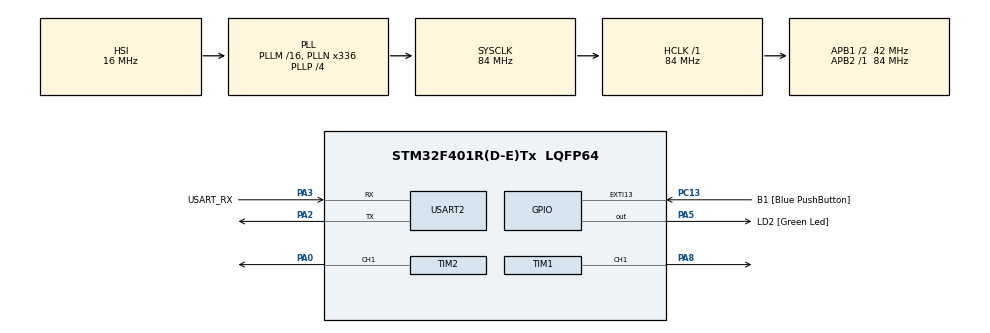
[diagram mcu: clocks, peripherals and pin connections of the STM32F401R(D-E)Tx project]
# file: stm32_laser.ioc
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Dma.Request0=USART2_RX
Dma.USART2_RX.0.Direction=DMA_PERIPH_TO_MEMORY
Dma.USART2_RX.0.FIFOMode=DMA_FIFOMODE_DISABLE
Dma.USART2_RX.0.Instance=DMA1_Stream5
Dma.USART2_RX.0.MemDataAlignment=DMA_MDATAALIGN_HALFWORD
Dma.USART2_RX.0.MemInc=DMA_MINC_ENABLE
Dma.USART2_RX.0.Mode=DMA_CIRCULAR
Dma.USART2_RX.0.PeriphDataAlignment=DMA_PDATAALIGN_HALFWORD
Dma.USART2_RX.0.PeriphInc=DMA_PINC_DISABLE
Dma.USART2_RX.0.Priority=DMA_PRIORITY_HIGH
Mcu.Family=STM32F4
Mcu.Name=STM32F401R(D-E)Tx
Mcu.Package=LQFP64
NVIC.DMA1_Stream5_IRQn=true\:0\:0\:false\:false\:true\:false\:true\:true
NVIC.PriorityGroup=NVIC_PRIORITYGROUP_0
NVIC.USART2_IRQn=true\:0\:0\:false\:false\:true\:true\:true\:true
PA0-WKUP.Signal=S_TIM2_CH1_ETR
PA13.GPIO_Label=TMS
PA13.Signal=SYS_JTMS-SWDIO
PA14.GPIO_Label=TCK
PA14.Signal=SYS_JTCK-SWCLK
PA2.Mode=Asynchronous
PA2.Signal=USART2_TX
PA3.GPIO_Label=USART_RX
PA3.GPIO_Mode=GPIO_MODE_AF_PP
PA3.GPIO_PuPd=GPIO_NOPULL
PA3.GPIO_Speed=GPIO_SPEED_FREQ_LOW
PA3.Mode=Asynchronous
PA3.Signal=USART2_RX
PA5.GPIO_Label=LD2 [Green Led]
PA5.GPIO_Mode=GPIO_MODE_OUTPUT_PP
PA5.GPIO_PuPd=GPIO_NOPULL
PA5.GPIO_Speed=GPIO_SPEED_FREQ_LOW
PA5.Signal=GPIO_Output
PA8.Signal=S_TIM1_CH1
PB3.GPIO_Label=SWO
PB3.Signal=SYS_JTDO-SWO
PC13-ANTI_TAMP.GPIO_Label=B1 [Blue PushButton]
PC13-ANTI_TAMP.GPIO_ModeDefaultEXTI=GPIO_MODE_IT_FALLING
PC13-ANTI_TAMP.GPIO_PuPd=GPIO_NOPULL
PC13-ANTI_TAMP.Signal=GPXTI13
PC14-OSC32_IN.Signal=RCC_OSC32_IN
PC15-OSC32_OUT.Signal=RCC_OSC32_OUT
PH0\ -\ OSC_IN.Signal=RCC_OSC_IN
PH1\ -\ OSC_OUT.Signal=RCC_OSC_OUT
ProjectManager.HeapSize=0x200
ProjectManager.StackSize=0x400
ProjectManager.TargetToolchain=CMake
RCC.AHBFreq_Value=84000000
RCC.APB1CLKDivider=RCC_HCLK_DIV2
RCC.APB1Freq_Value=42000000
RCC.APB1TimFreq_Value=84000000
RCC.APB2Freq_Value=84000000
RCC.APB2TimFreq_Value=84000000
RCC.CortexFreq_Value=84000000
RCC.HCLKFreq_Value=84000000
RCC.HSE_VALUE=8000000
RCC.HSI_VALUE=16000000
RCC.LSE_VALUE=32768
RCC.PLLN=336
RCC.PLLP=RCC_PLLP_DIV4
RCC.PLLQ=7
RCC.SYSCLKFreq_VALUE=84000000
RCC.SYSCLKSource=RCC_SYSCLKSOURCE_PLLCLK
RCC.VCOOutputFreq_Value=336000000
SH.S_TIM1_CH1.0=TIM1_CH1,PWM Generation1 CH1
SH.S_TIM2_CH1_ETR.0=TIM2_CH1,PWM Generation1 CH1
TIM1.Channel-PWM\ Generation1\ CH1=TIM_CHANNEL_1
TIM1.OCPolarity_1=TIM_OCPOLARITY_LOW
TIM1.Period=19999
TIM1.Prescaler=83
TIM2.Channel-PWM\ Generation1\ CH1=TIM_CHANNEL_1
TIM2.OCPolarity_1=TIM_OCPOLARITY_LOW
TIM2.Prescaler=83
USART2.VirtualMode=VM_ASYNC
VP_TIM1_VS_ClockSourceINT.Mode=Internal
VP_TIM2_VS_ClockSourceINT.Mode=Internal
board=NUCLEO-F401RE

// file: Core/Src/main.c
/* USER CODE BEGIN Header */
/**
  ******************************************************************************
  * @file           : main.c
  * @brief          : Main program body
  ******************************************************************************
  * @attention
  *
  * Copyright (c) 2026 STMicroelectronics.
  * All rights reserved.
  *
  * This software is licensed under terms that can be found in the LICENSE file
  * in the root directory of this software component.
  * If no LICENSE file comes with this software, it is provided AS-IS.
  *
  ******************************************************************************
  */
/* USER CODE END Header */
#include "main.h"

/* USER CODE BEGIN Includes */
#include <stdlib.h>
#include <string.h>
#include <stdio.h>
/* USER CODE END Includes */

/* USER CODE BEGIN PD */
/* PWM 주파수 (Hz): 50=서보 표준 20ms, 100/250 등 테스트 가능 */
#define PWM_FREQ_HZ   50
#define PWM_US_MIN    800
#define PWM_US_MAX    2200
#define RX_LINE_MAX   64

/* 제어 모드 */
#define MODE_MANUAL   0  /* UART로 들어온 us 값 그대로 사용 */
#define MODE_AUTO     1  /* 1200~1800 us 자동 스윕 */

/* 1200~1800 us 자동 회전(스윕) */
#define AUTO_PWM_MIN  1200
#define AUTO_PWM_MAX  1800
#define AUTO_STEP_US  10
#define AUTO_MS       30
#define AUTO_HOLD_MS  2000   /* UART 입력 후 이 시간(ms) 동안 고정, 이후 스윕 재개 (AUTO 모드에서만 사용) */
/* USER CODE END PD */

TIM_HandleTypeDef htim1;
TIM_HandleTypeDef htim2;

UART_HandleTypeDef huart2;
DMA_HandleTypeDef hdma_usart2_rx;

/* USER CODE BEGIN PV */
static uint8_t   rx_byte;
static char      rx_line_buf[RX_LINE_MAX];
static uint8_t   rx_idx;
static volatile uint8_t rx_ready;

/* UART 디버그: 콜백이 불리는지 확인용 에코 플래그 */
static volatile uint8_t debug_rx_flag = 0;
static uint8_t          debug_rx_byte = 0;

/* B1 버튼으로 AUTO 모드 진입 요청 플래그 */
static volatile uint8_t button_auto_pending = 0;

/* 제어 모드: 기본은 수동(MANUAL) */
static uint8_t   control_mode = MODE_MANUAL;

/* 자동 스윕: 1200~1800 us 왕복 (AUTO 모드에서만 사용) */
static uint32_t  auto_pwm_val   = 1500;
static int32_t   auto_dir       = AUTO_STEP_US;
static uint32_t  auto_last_tick = 0;
static uint32_t  last_uart_tick = 0;  /* UART로 값 보낸 시각; 이 후 AUTO_HOLD_MS 동안 스윕 정지 */
/* USER CODE END PV */

void SystemClock_Config(void);
static void MX_GPIO_Init(void);
static void MX_DMA_Init(void);
static void MX_TIM1_Init(void);
static void MX_TIM2_Init(void);
static void MX_USART2_UART_Init(void);

int main(void)
{

  /* MCU Configuration--------------------------------------------------------*/

  /* Reset of all peripherals, Initializes the Flash interface and the Systick. */
  HAL_Init();

  /* Configure the system clock */
  SystemClock_Config();

  /* Initialize all configured peripherals */
  MX_GPIO_Init();
  MX_DMA_Init();
  MX_TIM1_Init();
  MX_TIM2_Init();
  MX_USART2_UART_Init();
  /* USER CODE BEGIN 2 */
  rx_idx = 0;
  rx_ready = 0;
  /* PWM 주기: PWM_FREQ_HZ에 따라 ARR 설정 (1 tick = 1 us) */
  {
    uint32_t pwm_period = (1000000u / (uint32_t)PWM_FREQ_HZ) - 1u;
    __HAL_TIM_SET_AUTORELOAD(&htim1, pwm_period);
    __HAL_TIM_SET_AUTORELOAD(&htim2, pwm_period);
  }
  __HAL_TIM_SET_COMPARE(&htim1, TIM_CHANNEL_1, 1500);
  __HAL_TIM_SET_COMPARE(&htim2, TIM_CHANNEL_1, 1500);
  HAL_TIM_PWM_Start(&htim1, TIM_CHANNEL_1);
  HAL_TIM_PWM_Start(&htim2, TIM_CHANNEL_1);
  __HAL_TIM_MOE_ENABLE(&htim1);  /* TIM1(PA8) 실제 출력 위해 필수 */
  HAL_UART_Receive_IT(&huart2, &rx_byte, 1);
  auto_last_tick = HAL_GetTick();
  {
    char msg[96];
    int n = snprintf(msg, sizeof(msg),
                     "%dHz PWM. MODE 0=manual, 1=auto.\r\n"
                     "Send: 1500 or 1500 1200 or \"mode 0/1\".\r\n",
                     (int)PWM_FREQ_HZ);
    if (n > 0) HAL_UART_Transmit(&huart2, (uint8_t *)msg, (uint16_t)n, 100);
  }
  /* USER CODE END 2 */

  /* Infinite loop */
  /* USER CODE BEGIN WHILE */
  while (1)
  {
    /* B1 버튼으로 모드 토글 (MANUAL ↔ AUTO) */
    if (button_auto_pending)
    {
      button_auto_pending = 0;
      if (control_mode == MODE_AUTO)
      {
        /* AUTO → MANUAL로 전환: 현재 각도 유지, 스윕 중단 */
        control_mode = MODE_MANUAL;
        const char *msg = "manual mode 실행\r\n";
        HAL_UART_Transmit(&huart2, (const uint8_t *)msg, (uint16_t)strlen(msg), 50);
      }
      else
      {
        /* MANUAL → AUTO로 전환: 1200~1800 스윕 시작 */
        control_mode   = MODE_AUTO;
        auto_pwm_val   = AUTO_PWM_MIN;
        auto_dir       = AUTO_STEP_US;
        auto_last_tick = HAL_GetTick();
        last_uart_tick = 0;
        const char *msg = "auto mode 실행\r\n";
        HAL_UART_Transmit(&huart2, (const uint8_t *)msg, (uint16_t)strlen(msg), 50);
      }
    }

    /* 디버그: 수신된 마지막 바이트를 에코 (콜백이 실제로 불리는지 확인) */
    if (debug_rx_flag)
    {
      debug_rx_flag = 0;
      HAL_UART_Transmit(&huart2, &debug_rx_byte, 1, 20);
    }

    if (rx_ready)
    {
      rx_ready = 0;
      rx_line_buf[rx_idx] = '\0';

      /* 공백/개행만 들어온 경우 무시 */
      if (rx_idx == 0 || rx_line_buf[0] == '\r' || rx_line_buf[0] == '\n')
      {
        rx_idx = 0;
        HAL_UART_Receive_IT(&huart2, &rx_byte, 1);
        continue;
      }

      /* MODE 명령 처리: "mode 0" 또는 "mode 1" */
      if (strncmp(rx_line_buf, "mode", 4) == 0)
      {
        unsigned long m = 0;
        if (sscanf(rx_line_buf + 4, "%lu", &m) == 1 && (m == 0ul || m == 1ul))
        {
          control_mode = (uint8_t)m;
          const char *resp = (control_mode == MODE_MANUAL)
                             ? "MODE=0 (manual)\r\n"
                             : "MODE=1 (auto sweep 1200~1800us)\r\n";
          HAL_UART_Transmit(&huart2, (const uint8_t *)resp, (uint16_t)strlen(resp), 50);
        }
        else
        {
          const char *err = "Usage: mode 0 (manual) or mode 1 (auto)\r\n";
          HAL_UART_Transmit(&huart2, (const uint8_t *)err, (uint16_t)strlen(err), 50);
        }
      }
      else
      {
        /* 기본: "1500" 또는 "1500 1200" 형식으로 us 값 설정 */
        unsigned long u1 = 1500, u2 = 1500;
        int n = sscanf(rx_line_buf, "%lu %lu", &u1, &u2);
        if (n >= 1)
        {
          if (u1 < PWM_US_MIN) u1 = PWM_US_MIN;
          if (u1 > PWM_US_MAX) u1 = PWM_US_MAX;
          if (n >= 2)
          {
            if (u2 < PWM_US_MIN) u2 = PWM_US_MIN;
            if (u2 > PWM_US_MAX) u2 = PWM_US_MAX;
          }
          else
          {
            u2 = u1;
          }
          /* CH1=PA8(TIM1), CH2=PA0(TIM2) */
          __HAL_TIM_SET_COMPARE(&htim1, TIM_CHANNEL_1, (uint32_t)u1);
          __HAL_TIM_SET_COMPARE(&htim2, TIM_CHANNEL_1, (uint32_t)u2);
          auto_pwm_val = (uint32_t)u1;
          last_uart_tick = HAL_GetTick();
          char ack[52];
          int len = snprintf(ack, sizeof(ack), "\nOK PA8=%lu PA0=%lu us\r\n", u1, u2);
          if (len > 0)
            HAL_UART_Transmit(&huart2, (uint8_t *)ack, (uint16_t)len, 50);
        }
        else
        {
          const char *err = "? (send: 1500 or 1500 1200, or mode 0/1)\r\n";
          HAL_UART_Transmit(&huart2, (const uint8_t *)err, (uint16_t)strlen(err), 50);
        }
      }
      rx_idx = 0;
      HAL_UART_Receive_IT(&huart2, &rx_byte, 1);
    }

    /* 자동 스윕: MODE_AUTO에서만 동작, 기본은 비활성화(MODE_MANUAL) */
    if (control_mode == MODE_AUTO)
    {
      uint32_t now = HAL_GetTick();
      if (last_uart_tick != 0 && (now - last_uart_tick) < AUTO_HOLD_MS)
      {
        /* UART로 넣은 값 유지, 스윕 안 함 */
      }
      else if (now - auto_last_tick >= AUTO_MS)
      {
        if (last_uart_tick != 0 && (now - last_uart_tick) >= AUTO_HOLD_MS)
          last_uart_tick = 0;  /* 2초 지남 → 스윕 재개 */
        auto_last_tick = now;
        auto_pwm_val += (uint32_t)auto_dir;
        if (auto_pwm_val >= AUTO_PWM_MAX)
        {
          auto_pwm_val = AUTO_PWM_MAX;
          auto_dir = -(int32_t)AUTO_STEP_US;
        }
        else if (auto_pwm_val <= AUTO_PWM_MIN)
        {
          auto_pwm_val = AUTO_PWM_MIN;
          auto_dir = (int32_t)AUTO_STEP_US;
        }
        __HAL_TIM_SET_COMPARE(&htim1, TIM_CHANNEL_1, auto_pwm_val);
        __HAL_TIM_SET_COMPARE(&htim2, TIM_CHANNEL_1, auto_pwm_val);
      }
    }
    /* USER CODE END WHILE */

  }
}

void SystemClock_Config(void)
{
  RCC_OscInitTypeDef RCC_OscInitStruct = {0};
  RCC_ClkInitTypeDef RCC_ClkInitStruct = {0};

  /** Configure the main internal regulator output voltage
  */
  __HAL_RCC_PWR_CLK_ENABLE();
  __HAL_PWR_VOLTAGESCALING_CONFIG(PWR_REGULATOR_VOLTAGE_SCALE2);

  /** Initializes the RCC Oscillators according to the specified parameters
  * in the RCC_OscInitTypeDef structure.
  */
  RCC_OscInitStruct.OscillatorType = RCC_OSCILLATORTYPE_HSI;
  RCC_OscInitStruct.HSIState = RCC_HSI_ON;
  RCC_OscInitStruct.HSICalibrationValue = RCC_HSICALIBRATION_DEFAULT;
  RCC_OscInitStruct.PLL.PLLState = RCC_PLL_ON;
  RCC_OscInitStruct.PLL.PLLSource = RCC_PLLSOURCE_HSI;
  RCC_OscInitStruct.PLL.PLLM = 16;
  RCC_OscInitStruct.PLL.PLLN = 336;
  RCC_OscInitStruct.PLL.PLLP = RCC_PLLP_DIV4;
  RCC_OscInitStruct.PLL.PLLQ = 7;
  if (HAL_RCC_OscConfig(&RCC_OscInitStruct) != HAL_OK)
  {
    Error_Handler();
  }

  /** Initializes the CPU, AHB and APB buses clocks
  */
  RCC_ClkInitStruct.ClockType = RCC_CLOCKTYPE_HCLK|RCC_CLOCKTYPE_SYSCLK
                              |RCC_CLOCKTYPE_PCLK1|RCC_CLOCKTYPE_PCLK2;
  RCC_ClkInitStruct.SYSCLKSource = RCC_SYSCLKSOURCE_PLLCLK;
  RCC_ClkInitStruct.AHBCLKDivider = RCC_SYSCLK_DIV1;
  RCC_ClkInitStruct.APB1CLKDivider = RCC_HCLK_DIV2;
  RCC_ClkInitStruct.APB2CLKDivider = RCC_HCLK_DIV1;

  if (HAL_RCC_ClockConfig(&RCC_ClkInitStruct, FLASH_LATENCY_2) != HAL_OK)
  {
    Error_Handler();
  }
}

static void MX_TIM1_Init(void)
{

  TIM_ClockConfigTypeDef sClockSourceConfig = {0};
  TIM_MasterConfigTypeDef sMasterConfig = {0};
  TIM_OC_InitTypeDef sConfigOC = {0};
  TIM_BreakDeadTimeConfigTypeDef sBreakDeadTimeConfig = {0};

  htim1.Instance = TIM1;
  htim1.Init.Prescaler = 83;
  htim1.Init.CounterMode = TIM_COUNTERMODE_UP;
  htim1.Init.Period = 19999;  /* 50Hz, 20ms (20000us), 1us per tick */
  htim1.Init.ClockDivision = TIM_CLOCKDIVISION_DIV1;
  htim1.Init.RepetitionCounter = 0;
  htim1.Init.AutoReloadPreload = TIM_AUTORELOAD_PRELOAD_DISABLE;
  if (HAL_TIM_Base_Init(&htim1) != HAL_OK)
  {
    Error_Handler();
  }
  sClockSourceConfig.ClockSource = TIM_CLOCKSOURCE_INTERNAL;
  if (HAL_TIM_ConfigClockSource(&htim1, &sClockSourceConfig) != HAL_OK)
  {
    Error_Handler();
  }
  if (HAL_TIM_PWM_Init(&htim1) != HAL_OK)
  {
    Error_Handler();
  }
  sMasterConfig.MasterOutputTrigger = TIM_TRGO_RESET;
  sMasterConfig.MasterSlaveMode = TIM_MASTERSLAVEMODE_DISABLE;
  if (HAL_TIMEx_MasterConfigSynchronization(&htim1, &sMasterConfig) != HAL_OK)
  {
    Error_Handler();
  }
  sConfigOC.OCMode = TIM_OCMODE_PWM1;
  sConfigOC.Pulse = 0;
  sConfigOC.OCPolarity = TIM_OCPOLARITY_HIGH;  /* 직결/버퍼 시 정극성; NPN 반전 회로면 LOW 사용 */
  sConfigOC.OCNPolarity = TIM_OCNPOLARITY_LOW;
  sConfigOC.OCFastMode = TIM_OCFAST_DISABLE;
  sConfigOC.OCIdleState = TIM_OCIDLESTATE_RESET;
  sConfigOC.OCNIdleState = TIM_OCNIDLESTATE_RESET;
  if (HAL_TIM_PWM_ConfigChannel(&htim1, &sConfigOC, TIM_CHANNEL_1) != HAL_OK)
  {
    Error_Handler();
  }
  sBreakDeadTimeConfig.OffStateRunMode = TIM_OSSR_DISABLE;
  sBreakDeadTimeConfig.OffStateIDLEMode = TIM_OSSI_DISABLE;
  sBreakDeadTimeConfig.LockLevel = TIM_LOCKLEVEL_OFF;
  sBreakDeadTimeConfig.DeadTime = 0;
  sBreakDeadTimeConfig.BreakState = TIM_BREAK_DISABLE;
  sBreakDeadTimeConfig.BreakPolarity = TIM_BREAKPOLARITY_HIGH;
  sBreakDeadTimeConfig.AutomaticOutput = TIM_AUTOMATICOUTPUT_DISABLE;
  if (HAL_TIMEx_ConfigBreakDeadTime(&htim1, &sBreakDeadTimeConfig) != HAL_OK)
  {
    Error_Handler();
  }
  HAL_TIM_MspPostInit(&htim1);

}

static void MX_TIM2_Init(void)
{

  TIM_ClockConfigTypeDef sClockSourceConfig = {0};
  TIM_MasterConfigTypeDef sMasterConfig = {0};
  TIM_OC_InitTypeDef sConfigOC = {0};

  htim2.Instance = TIM2;
  htim2.Init.Prescaler = 83;
  htim2.Init.CounterMode = TIM_COUNTERMODE_UP;
  htim2.Init.Period = 19999;  /* 50Hz, 20ms (20000us), 1us per tick */
  htim2.Init.ClockDivision = TIM_CLOCKDIVISION_DIV1;
  htim2.Init.AutoReloadPreload = TIM_AUTORELOAD_PRELOAD_DISABLE;
  if (HAL_TIM_Base_Init(&htim2) != HAL_OK)
  {
    Error_Handler();
  }
  sClockSourceConfig.ClockSource = TIM_CLOCKSOURCE_INTERNAL;
  if (HAL_TIM_ConfigClockSource(&htim2, &sClockSourceConfig) != HAL_OK)
  {
    Error_Handler();
  }
  if (HAL_TIM_PWM_Init(&htim2) != HAL_OK)
  {
    Error_Handler();
  }
  sMasterConfig.MasterOutputTrigger = TIM_TRGO_RESET;
  sMasterConfig.MasterSlaveMode = TIM_MASTERSLAVEMODE_DISABLE;
  if (HAL_TIMEx_MasterConfigSynchronization(&htim2, &sMasterConfig) != HAL_OK)
  {
    Error_Handler();
  }
  sConfigOC.OCMode = TIM_OCMODE_PWM1;
  sConfigOC.Pulse = 0;
  sConfigOC.OCPolarity = TIM_OCPOLARITY_HIGH;  /* 직결/버퍼 시 정극성; NPN 반전 회로면 LOW 사용 */
  sConfigOC.OCFastMode = TIM_OCFAST_DISABLE;
  if (HAL_TIM_PWM_ConfigChannel(&htim2, &sConfigOC, TIM_CHANNEL_1) != HAL_OK)
  {
    Error_Handler();
  }
  HAL_TIM_MspPostInit(&htim2);

}

static void MX_USART2_UART_Init(void)
{

  huart2.Instance = USART2;
  huart2.Init.BaudRate = 115200;
  huart2.Init.WordLength = UART_WORDLENGTH_8B;
  huart2.Init.StopBits = UART_STOPBITS_1;
  huart2.Init.Parity = UART_PARITY_NONE;
  huart2.Init.Mode = UART_MODE_TX_RX;
  huart2.Init.HwFlowCtl = UART_HWCONTROL_NONE;
  huart2.Init.OverSampling = UART_OVERSAMPLING_16;
  if (HAL_UART_Init(&huart2) != HAL_OK)
  {
    Error_Handler();
  }

}

static void MX_DMA_Init(void)
{

  /* DMA controller clock enable */
  __HAL_RCC_DMA1_CLK_ENABLE();

  /* DMA interrupt init */
  /* DMA1_Stream5_IRQn interrupt configuration */
  HAL_NVIC_SetPriority(DMA1_Stream5_IRQn, 0, 0);
  HAL_NVIC_EnableIRQ(DMA1_Stream5_IRQn);

}

static void MX_GPIO_Init(void)
{
  GPIO_InitTypeDef GPIO_InitStruct = {0};

  /* GPIO Ports Clock Enable */
  __HAL_RCC_GPIOC_CLK_ENABLE();
  __HAL_RCC_GPIOH_CLK_ENABLE();
  __HAL_RCC_GPIOA_CLK_ENABLE();
  __HAL_RCC_GPIOB_CLK_ENABLE();

  /*Configure GPIO pin Output Level */
  HAL_GPIO_WritePin(LD2_GPIO_Port, LD2_Pin, GPIO_PIN_RESET);

  /*Configure GPIO pin : B1_Pin */
  GPIO_InitStruct.Pin = B1_Pin;
  GPIO_InitStruct.Mode = GPIO_MODE_IT_FALLING;
  GPIO_InitStruct.Pull = GPIO_NOPULL;
  HAL_GPIO_Init(B1_GPIO_Port, &GPIO_InitStruct);

  /*Configure GPIO pin : LD2_Pin */
  GPIO_InitStruct.Pin = LD2_Pin;
  GPIO_InitStruct.Mode = GPIO_MODE_OUTPUT_PP;
  GPIO_InitStruct.Pull = GPIO_NOPULL;
  GPIO_InitStruct.Speed = GPIO_SPEED_FREQ_LOW;
  HAL_GPIO_Init(LD2_GPIO_Port, &GPIO_InitStruct);

  /* USER CODE BEGIN MX_GPIO_Init_2 */
  /* B1 사용자 버튼(PC13) EXTI15_10 인터럽트 활성화 */
  HAL_NVIC_SetPriority(EXTI15_10_IRQn, 2, 0);
  HAL_NVIC_EnableIRQ(EXTI15_10_IRQn);
  /* USER CODE END MX_GPIO_Init_2 */
}

/* USER CODE BEGIN 4 */
void HAL_UART_RxCpltCallback(UART_HandleTypeDef *huart)
{
  if (huart != &huart2) return;
  /* 인터럽트 안에서는 전송 금지 → 타이밍/전류 변동으로 소리·간섭 발생 가능 */

  /* 디버그용: 어떤 바이트가 들어오는지 main 루프에서 에코할 수 있게 저장 */
  debug_rx_byte = rx_byte;
  debug_rx_flag = 1;

  if (rx_byte == '\r' || rx_byte == '\n')
  {
    rx_ready = 1;
  }
  else if (rx_idx < RX_LINE_MAX - 1)
  {
    rx_line_buf[rx_idx++] = (char)rx_byte;
  }
  else
  {
    rx_ready = 1; /* line full */
  }
  if (!rx_ready)
    HAL_UART_Receive_IT(&huart2, &rx_byte, 1);
}

void HAL_GPIO_EXTI_Callback(uint16_t GPIO_Pin)
{
  if (GPIO_Pin == B1_Pin)
  {
    button_auto_pending = 1;
  }
}
/* USER CODE END 4 */

void Error_Handler(void)
{
  __disable_irq();
  while (1)
  {
  }
}
